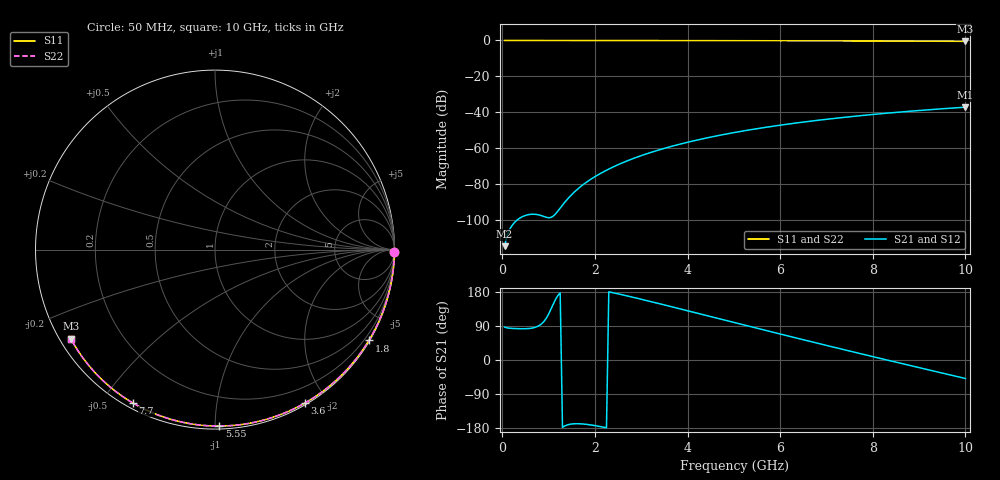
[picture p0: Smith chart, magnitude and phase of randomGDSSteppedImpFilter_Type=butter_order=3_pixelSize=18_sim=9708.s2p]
! freq	dB(S11)	phase(S11)	dB(S12)	phase(S12)
!  dB(S21)	phase(S21)	dB(S22)	phase(S22)
!S-par simulation data
#  GHz  S  DB  R 50
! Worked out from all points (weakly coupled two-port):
!   200 points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, 50 MHz to 10 GHz, reference 50 ohm
!   highest |S21| = -37.17 dB at 10 GHz (marker M1); lowest = -114.6 dB at 50 MHz (marker M2)
!   lowest |S11| = -0.5 dB at 10 GHz (marker M3), VSWR 34.95, Z = 1.55 - j14.2 ohm
!   |S11| at or under -10 dB: nowhere
!   |S22| runs from -0.5 to 0.0 dB; largest |S21 - S12| = 0
!   S11 on the Smith chart (normalised r, x): 50 MHz: open; 1.8 GHz: 0.03, -3.66; 3.6 GHz: 0.02, -1.75; 5.55 GHz: 0.02, -1.02; 7.7 GHz: 0.02, -0.60; 10 GHz: 0.03, -0.28
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0.05  -0.00 -0.9  -114.58 86.8  -114.58 86.8  -0.00 -0.9
0.45  -0.01 -7.8  -97.95 82.4  -97.95 82.4  -0.01 -7.8
0.9  -0.02 -15.4  -98.08 101.7  -98.08 101.7  -0.02 -15.4
1.3  -0.03 -22.2  -91.68 -177.6  -91.68 -177.6  -0.03 -22.2
1.75  -0.04 -29.7  -80.23 -169.0  -80.23 -169.0  -0.04 -29.7
1.8  -0.04 -30.6  -79.27 -169.6  -79.27 -169.6  -0.04 -30.5
1.95  -0.04 -33.0  -76.66 -172.1  -76.66 -172.1  -0.04 -33.0
2.1  -0.05 -35.5  -74.36 -175.2  -74.36 -175.2  -0.05 -35.5
2.3  -0.05 -38.8  -71.62 179.9  -71.62 179.9  -0.05 -38.8
2.5  -0.05 -42.1  -69.20 174.6  -69.20 174.6  -0.05 -42.0
2.9  -0.06 -48.5  -65.07 163.3  -65.07 163.3  -0.06 -48.5
3.4  -0.07 -56.4  -60.84 148.3  -60.84 148.3  -0.07 -56.4
3.6  -0.08 -59.5  -59.36 142.3  -59.36 142.3  -0.08 -59.5
4.3  -0.10 -70.3  -54.93 120.7  -54.93 120.7  -0.10 -70.3
5.05  -0.12 -81.4  -51.09 97.6  -51.09 97.6  -0.12 -81.4
5.55  -0.14 -88.6  -48.93 82.3  -48.93 82.3  -0.14 -88.6
6.1  -0.17 -96.4  -46.83 65.5  -46.83 65.5  -0.17 -96.4
6.7  -0.20 -104.7  -44.82 47.4  -44.82 47.4  -0.20 -104.7
7.7  -0.27 -118.1  -41.98 17.7  -41.98 17.7  -0.27 -118.1
8.35  -0.32 -126.7  -40.40 -1.3  -40.40 -1.3  -0.32 -126.7
9.2  -0.41 -137.8  -38.61 -25.9  -38.61 -25.9  -0.41 -137.8
10  -0.50 -148.3  -37.17 -48.8  -37.17 -48.8  -0.50 -148.3
